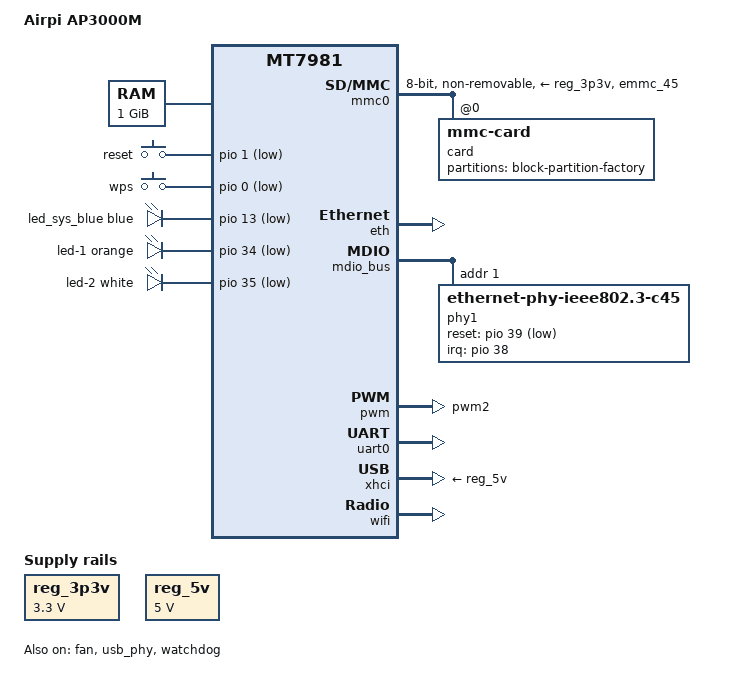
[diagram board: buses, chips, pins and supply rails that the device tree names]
// SPDX-License-Identifier: (GPL-2.0 OR MIT)

/dts-v1/;

#include <dt-bindings/gpio/gpio.h>
#include <dt-bindings/input/input.h>
#include <dt-bindings/leds/common.h>

#include "mt7981b.dtsi"

/ {
	model = "Airpi AP3000M";
	compatible = "airpi,ap3000m", "mediatek,mt7981";

	aliases {
		ethernet0 = &gmac0;
		ethernet1 = &gmac1;
		serial0 = &uart0;

		led-boot = &led_sys_blue;
		led-failsafe = &led_sys_blue;
		led-running = &led_sys_blue;
		led-upgrade = &led_sys_blue;
	};

	chosen {
		stdout-path = "serial0:115200n8";
		bootargs = "root=PARTLABEL=rootfs rootwait";
	};

	memory {
		reg = <0 0x40000000 0 0x40000000>;
		device_type = "memory";
	};

	gpio-keys {
		compatible = "gpio-keys";

		reset {
			label = "reset";
			linux,code = <KEY_RESTART>;
			gpios = <&pio 1 GPIO_ACTIVE_LOW>;
		};

		wps {
			label = "wps";
			linux,code = <KEY_WPS_BUTTON>;
			gpios = <&pio 0 GPIO_ACTIVE_LOW>;
		};
	};

	gpio-leds {
		compatible = "gpio-leds";

		led_sys_blue: led-0 {
			function = LED_FUNCTION_STATUS;
			color = <LED_COLOR_ID_BLUE>;
			gpios = <&pio 13 GPIO_ACTIVE_LOW>;
		};

		led-1 {
			function = LED_FUNCTION_WLAN_2GHZ;
			color = <LED_COLOR_ID_ORANGE>;
			gpios = <&pio 34 GPIO_ACTIVE_LOW>;
			linux,default-trigger = "phy0tpt";
		};

		led-2 {
			function = LED_FUNCTION_WLAN_5GHZ;
			color = <LED_COLOR_ID_WHITE>;
			gpios = <&pio 35 GPIO_ACTIVE_LOW>;
			linux,default-trigger = "phy1tpt";
		};
	};

	reg_3p3v: regulator-3p3v {
		compatible = "regulator-fixed";
		regulator-name = "fixed-3.3V";
		regulator-min-microvolt = <3300000>;
		regulator-max-microvolt = <3300000>;
		regulator-boot-on;
		regulator-always-on;
	};

	reg_5v: regulator-5v {
		compatible = "regulator-fixed";
		regulator-name = "fixed-5V";
		regulator-min-microvolt = <5000000>;
		regulator-max-microvolt = <5000000>;
		regulator-boot-on;
		regulator-always-on;
	};
};

&mmc0 {
	pinctrl-names = "default", "state_uhs";
	pinctrl-0 = <&mmc0_pins_default>;
	pinctrl-1 = <&mmc0_pins_uhs>;
	bus-width = <8>;
	cap-mmc-highspeed;
	max-frequency = <52000000>;
	vmmc-supply = <&reg_3p3v>;
	no-sd;
	no-sdio;
	non-removable;
	status = "okay";

	card@0 {
		compatible = "mmc-card";
		reg = <0>;

		block {
			compatible = "block-device";

			partitions {
				block-partition-factory {
					partname = "factory";

					nvmem-layout {
						compatible = "fixed-layout";
						#address-cells = <1>;
						#size-cells = <1>;

						eeprom_factory_0: eeprom@0 {
							reg = <0x0 0x1000>;
						};
					};
				};
			};
		};
	};
};

&eth {
	pinctrl-names = "default";
	pinctrl-0 = <&mdio_pins>;
	status = "okay";

	gmac0: mac@0 {
		compatible = "mediatek,eth-mac";
		reg = <0>;
		phy-mode = "2500base-x";
		phy-handle = <&phy1>;
	};

	gmac1: mac@1 {
		compatible = "mediatek,eth-mac";
		reg = <1>;
		phy-mode = "gmii";
		phy-handle = <&int_gbe_phy>;
	};
};

&mdio_bus {
	phy1: ethernet-phy@1 {
		compatible = "ethernet-phy-ieee802.3-c45";
		reg = <1>;
		reset-assert-us = <100000>;
		reset-deassert-us = <100000>;
		reset-gpios = <&pio 39 GPIO_ACTIVE_LOW>;
		interrupts = <38 IRQ_TYPE_LEVEL_LOW>;
		interrupt-parent = <&pio>;
		realtek,aldps-enable;
	};
};

&pio {
	mmc0_pins_default: mmc0-pins-default {
		mux {
			function = "flash";
			groups = "emmc_45";
		};
	};

	mmc0_pins_uhs: mmc0-pins-uhs {
		mux {
			function = "flash";
			groups = "emmc_45";
		};
	};

	pwm2_pins: pwm2-pins {
		mux {
			function = "pwm";
			groups = "pwm2";
		};
	};
};

&pwm {
	pinctrl-names = "default";
	pinctrl-0 = <&pwm2_pins>;
	status = "okay";
};

&fan {
	pwms = <&pwm 2 40000 0>;
	status = "okay";
};

&uart0 {
	status = "okay";
};

&usb_phy {
	status = "okay";
};

&watchdog {
	status = "okay";
};

&xhci {
	vbus-supply = <&reg_5v>;
	status = "okay";
};

&wifi {
	nvmem-cells = <&eeprom_factory_0>;
	nvmem-cell-names = "eeprom";
	status = "okay";
};
